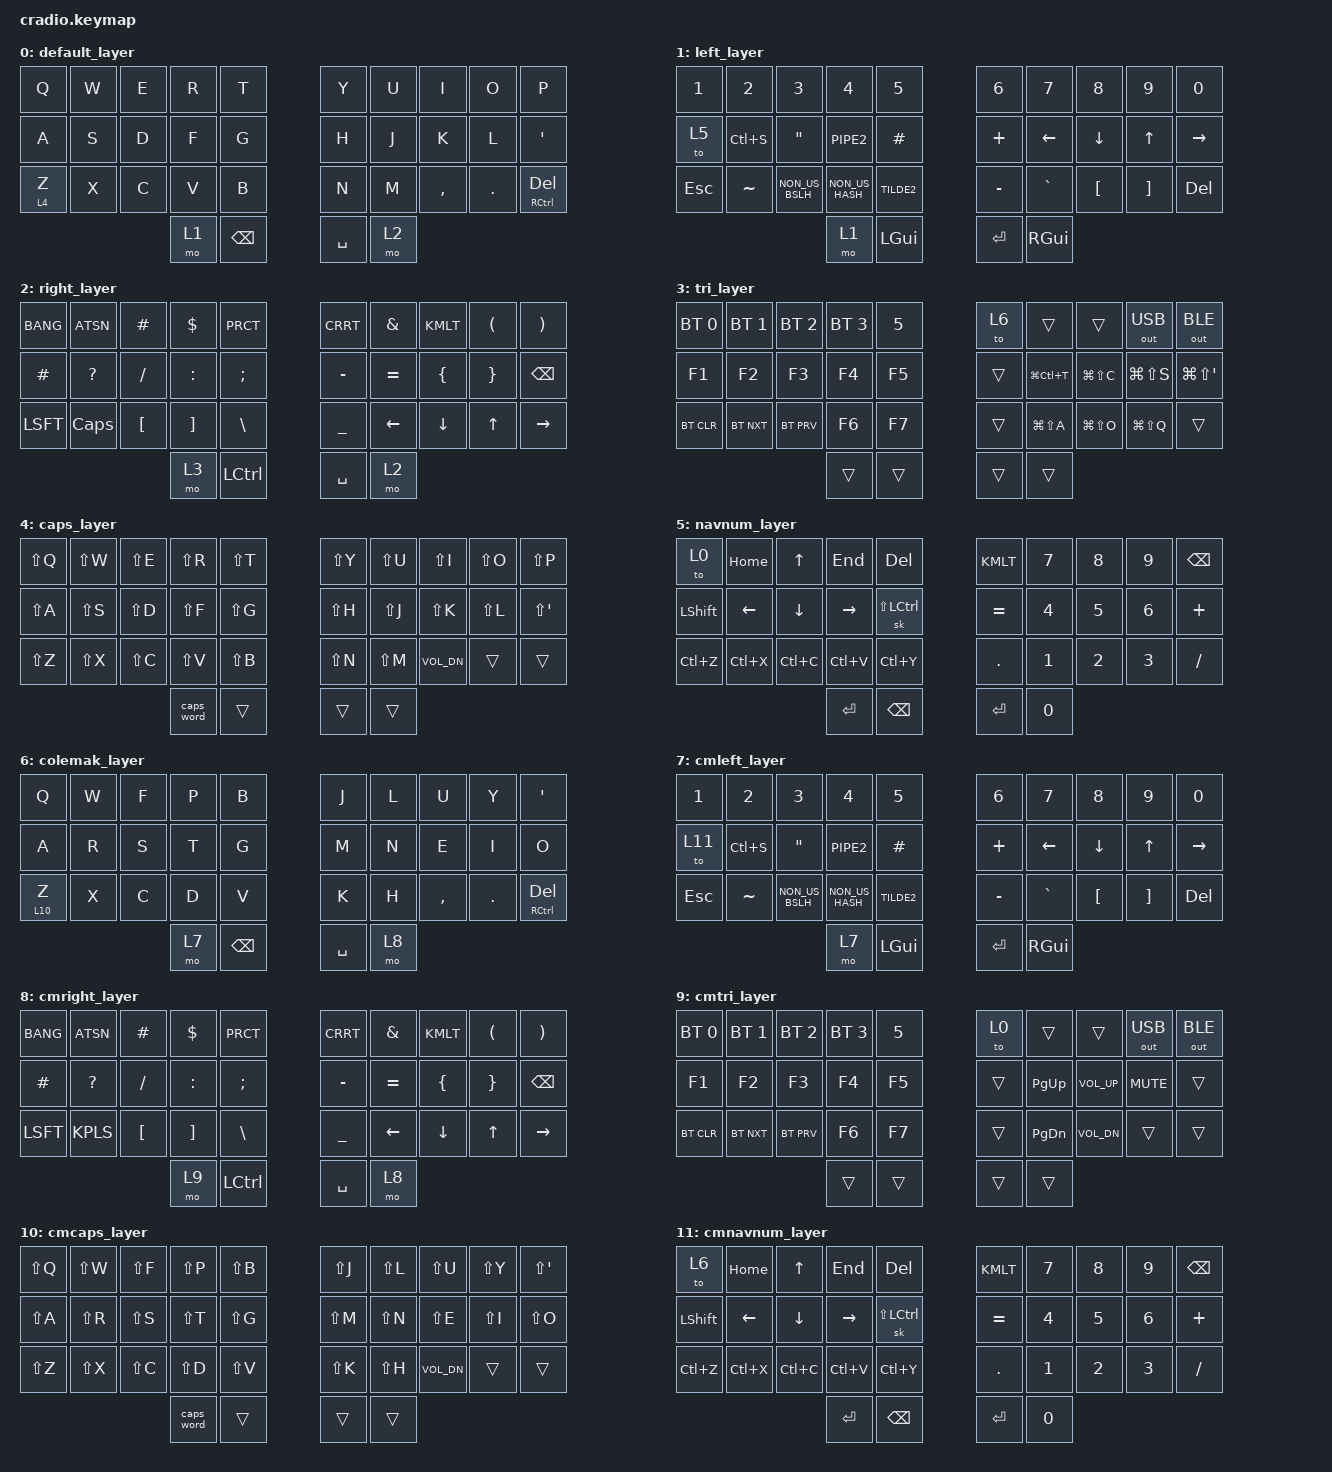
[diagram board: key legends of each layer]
/*
 * Copyright (c) 2020 The ZMK Contributors
 *
 * SPDX-License-Identifier: MIT
 */

#include <behaviors.dtsi>
#include <dt-bindings/zmk/keys.h>
#include <dt-bindings/zmk/bt.h>
#include <dt-bindings/zmk/outputs.h>


&mt {
  //  flavor = "tap-preferred";
   // tapping_term_ms = <200>;
};

//	0 	1 	2	  3	  4	  	5	  6	  7	  8	  9
//	10	11	12	13	14		15	16	17	18	19
//	20	21	22	23	24		25	26	27	28	29
//				      30	31		32	33
// 		>;

/ {

    combos {
        compatible = "zmk,combos";
        combo_esc {
            timeout-ms = <50>;
            key-positions = <0 1>;
            bindings = <&kp ESC>;
        };

         combo_tab {
            timeout-ms = <50>;
            key-positions = <8 9>;
            bindings = <&kp TAB>;
        };

            combo_ralt {
            timeout-ms = <50>;
            key-positions = <17 16>;
            bindings = <&kp RALT>;
        };

                    combo_lalt {
            timeout-ms = <50>;
            key-positions = <11 12>;
            bindings = <&kp LALT>;
        };

                           combo_lgui {
            timeout-ms = <50>;
            key-positions = <12 13>;
            bindings = <&kp LGUI>;
        };


           combo_rgui {
            timeout-ms = <50>;
            key-positions = <17 18>;
            bindings = <&kp RGUI>;
        };


          combo_lshift {
           timeout-ms = <50>;
           key-positions = <11 13>;
           bindings = <&kp LSHFT>;
         };

         combo_rshift {
          timeout-ms = <50>;
          key-positions = <16 18>;
          bindings = <&kp RSHFT>;
        };

    };

    behaviors {
        sp: sticky_press {
            compatible = "zmk,behavior-hold-tap";
            label = "STICKY_PRESS";
            #binding-cells = <2>;
            tapping_term_ms = <150>;
            quick_tap_ms = <0>;
            flavor = "tap-preferred";
            bindings = <&sl>, <&kp>;
        };

    };

        keymap {
                compatible = "zmk,keymap";

       		default_layer {
		bindings = <
		&kp Q      &kp W &kp E &kp R &kp T 						&kp Y   &kp U  &kp I    &kp O   &kp P
		&kp A      &kp S &kp D &kp F &kp G 			      &kp H   &kp J  &kp K    &kp L   &kp QUOT
		&sp 4 Z    &kp X &kp C &kp V &kp B				    &kp N   &kp M  &kp CMMA &kp DOT &mt RCTL DEL
          				         &mo 1 &kp BKSP  				&kp SPC &mo 2
		>;
		};

       		left_layer {
		bindings = <
		&kp NUM_1  &kp NUM_2    &kp NUM_3       &kp NUM_4        &kp NUM_5        &kp NUM_6 &kp NUM_7 &kp NUM_8 &kp NUM_9 &kp NUM_0
		&to 5    &kp LC(S)    &kp DQT         &kp PIPE2        &kp HASH 	    	&kp PLUS  &kp LEFT  &kp DOWN  &kp UP     &kp RIGHT
		&kp ESC    &kp TILDE    &kp NON_US_BSLH &kp NON_US_HASH  &kp TILDE2     	&kp MINUS &kp GRAVE &kp LBKT  &kp RBKT   &kp DEL
					                                  &mo 1            &kp LGUI  	     	&kp RET   &kp RGUI
		>;
		};

		right_layer {
		bindings = <
		&kp BANG  &kp ATSN   &kp HASH  &kp DLLR  &kp PRCT    			&kp CRRT  &kp AMPS  &kp KMLT  &kp LPRN  &kp RPRN
		&kp HASH  &kp QMARK  &kp FSLH  &kp COLN  &kp SCLN 			  &kp MINUS &kp EQUAL &kp LBRC  &kp RBRC  &kp BKSP
		&kp LSFT  &kp CAPS   &kp LBKT  &kp RBKT  &kp BSLH    			&kp UNDER &kp LEFT  &kp DOWN  &kp UP    &kp RIGHT
					                         &mo 3     &kp LCTL  				&kp SPC   &mo 2
		>;
		};

		tri_layer {
		bindings = <
		&bt BT_SEL 0  &bt BT_SEL 1  &bt BT_SEL 2  &bt BT_SEL 3  &kp NUM_5 		  	&to 6  &trans     &trans        &out OUT_USB     &out OUT_BLE
		&kp F1        &kp F2        &kp F3        &kp F4     &kp F5  			  	&trans &kp LG(LC(T))  &kp LG(LS(C))  &kp LG(LS(S)) &kp LG(LS(QUOT))
		&bt BT_CLR    &bt BT_NXT    &bt BT_PRV    &kp F6     &kp F7   				&trans &kp LG(LS(A))  &kp LG(LS(O))  &kp LG(LS(Q))    &trans
					                                    &trans     &trans  					&trans &trans
		>;
    };

    caps_layer {
    bindings = <
    &kp LS(Q)  &kp LS(W)    &kp LS(E)    &kp LS(R)    &kp LS(T) 			&kp LS(Y) &kp LS(U)   &kp LS(I)  &kp LS(O)  &kp LS(P)
    &kp LS(A) &kp LS(S) &kp LS(D) &kp LS(F) &kp LS(G)  						&kp LS(H) &kp LS(J)  &kp LS(K) &kp LS(L) &kp LS(QUOT)
    &kp LS(Z) &kp LS(X) &kp LS(C) &kp LS(V) &kp LS(B)   				&kp LS(N) &kp LS(M)  &kp K_VOL_DN  &trans &trans
           &caps_word &trans  					&trans &trans
    >;
    };

    navnum_layer {
    bindings = <
    &to 0      &kp HOME     &kp UP       &kp END      &kp DEL 			      &kp KMLT   &kp NUM_7   &kp NUM_8     &kp NUM_9  &kp BKSP
    &kp LSHIFT &kp LEFT     &kp DOWN     &kp RIGHT    &sk LS(LCTRL)			  &kp EQUAL  &kp NUM_4   &kp NUM_5     &kp NUM_6  &kp PLUS
    &kp LC(Z)  &kp LC(X)    &kp LC(C)    &kp LC(V)    &kp LC(Y)   				&kp DOT    &kp NUM_1   &kp NUM_2     &kp NUM_3  &kp FSLH
                                         &kp RET      &kp BKSP  					&kp RET    &kp NUM_0
    >;
		};

    colemak_layer {
    bindings = <
    &kp Q      &kp W &kp F &kp P &kp B 						&kp J   &kp L  &kp U    &kp Y   &kp QUOT
    &kp A      &kp R &kp S &kp T &kp G 			      &kp M   &kp N  &kp E    &kp I   &kp O
    &sp 10 Z   &kp X &kp C &kp D &kp V				    &kp K   &kp H  &kp CMMA &kp DOT &mt RCTL DEL
                     &mo 7 &kp BKSP  				      &kp SPC &mo 8
    >;
    };

    cmleft_layer {
    bindings = <
    &kp NUM_1  &kp NUM_2    &kp NUM_3       &kp NUM_4        &kp NUM_5        &kp NUM_6 &kp NUM_7 &kp NUM_8 &kp NUM_9 &kp NUM_0
    &to 11     &kp LC(S)    &kp DQT         &kp PIPE2        &kp HASH 	    	&kp PLUS  &kp LEFT  &kp DOWN  &kp UP     &kp RIGHT
    &kp ESC    &kp TILDE    &kp NON_US_BSLH &kp NON_US_HASH  &kp TILDE2     	&kp MINUS &kp GRAVE &kp LBKT  &kp RBKT   &kp DEL
                                      &mo 7 &kp LGUI  	     	&kp RET   &kp RGUI
    >;
    };

    cmright_layer {
    bindings = <
    &kp BANG  &kp ATSN   &kp HASH  &kp DLLR  &kp PRCT    			&kp CRRT  &kp AMPS  &kp KMLT  &kp LPRN  &kp RPRN
    &kp HASH  &kp QMARK  &kp FSLH  &kp COLN  &kp SCLN 			  &kp MINUS &kp EQUAL &kp LBRC  &kp RBRC  &kp BKSP
    &kp LSFT  &kp KPLS   &kp LBKT  &kp RBKT  &kp BSLH    			&kp UNDER &kp LEFT  &kp DOWN  &kp UP    &kp RIGHT
                             &mo 9     &kp LCTL  			      	&kp SPC   &mo 8
    >;
    };

    cmtri_layer {
    bindings = <
    &bt BT_SEL 0  &bt BT_SEL 1  &bt BT_SEL 2  &bt BT_SEL 3  &kp NUM_5 		  	&to 0 &trans     &trans        &out OUT_USB     &out OUT_BLE
    &kp F1        &kp F2        &kp F3        &kp F4     &kp F5  			  	&trans &kp PG_UP  &kp K_VOL_UP  &kp K_MUTE &trans
    &bt BT_CLR    &bt BT_NXT    &bt BT_PRV    &kp F6     &kp F7   				&trans &kp PG_DN  &kp K_VOL_DN  &trans     &trans
                                        &trans     &trans  					     &trans &trans
    >;
    };

    cmcaps_layer {
    bindings = <
    &kp LS(Q)  &kp LS(W)   &kp LS(F)    &kp LS(P)    &kp LS(B) 		    	&kp LS(J) &kp LS(L)   &kp LS(U)  &kp LS(Y)  &kp LS(QUOT)
    &kp LS(A)  &kp LS(R)   &kp LS(S)    &kp LS(T)    &kp LS(G)  				&kp LS(M) &kp LS(N)  &kp LS(E) &kp LS(I) &kp LS(O)
    &kp LS(Z)  &kp LS(X)   &kp LS(C)    &kp LS(D)    &kp LS(V)   				&kp LS(K) &kp LS(H)  &kp K_VOL_DN  &trans &trans
                                   &caps_word &trans  				        	&trans &trans
    >;
    };

    cmnavnum_layer {
    bindings = <
    &to 6      &kp HOME     &kp UP       &kp END      &kp DEL 			      &kp KMLT   &kp NUM_7   &kp NUM_8     &kp NUM_9  &kp BKSP
    &kp LSHIFT &kp LEFT     &kp DOWN     &kp RIGHT    &sk LS(LCTRL)			  &kp EQUAL  &kp NUM_4   &kp NUM_5     &kp NUM_6  &kp PLUS
    &kp LC(Z)  &kp LC(X)    &kp LC(C)    &kp LC(V)    &kp LC(Y)   				&kp DOT    &kp NUM_1   &kp NUM_2     &kp NUM_3  &kp FSLH
                                   &kp RET      &kp BKSP  					      &kp RET    &kp NUM_0
    >;
    };

	};
};
